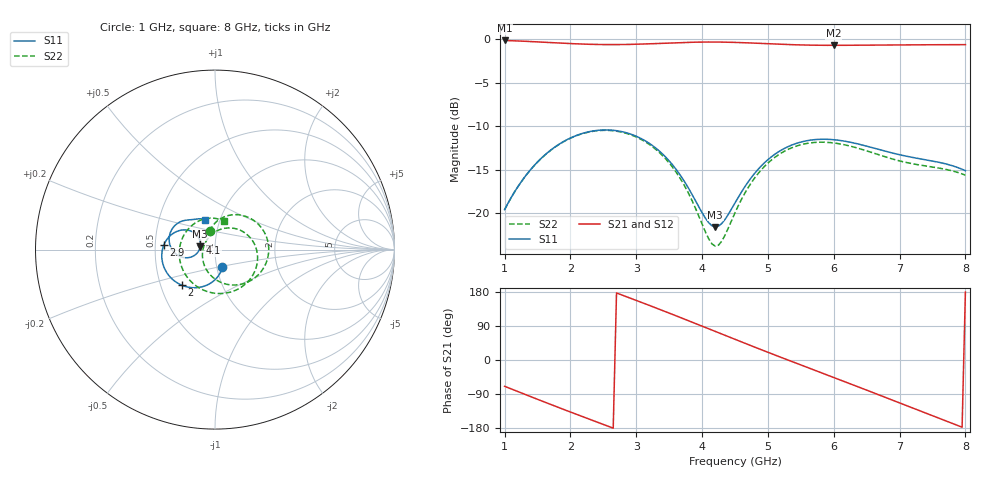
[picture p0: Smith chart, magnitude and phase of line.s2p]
# GHz S RI R 50
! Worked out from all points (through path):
!   141 points, 1 GHz to 8 GHz, reference 50 ohm
!   highest |S21| = -0.18 dB at 1 GHz (marker M1); lowest = -0.7 dB at 6 GHz (marker M2)
!   group delay of S21, straight-line fit = 187 ps
!   lowest |S11| = -21.5 dB at 4.2 GHz (marker M3), VSWR 1.18, Z = 42.4 + j1.41 ohm
!   |S11| at or under -10 dB: start of sweep to end of sweep
!   |S22| runs from -23.7 to -10.5 dB; largest |S21 - S12| = 0
!   S11 on the Smith chart (normalised r, x): 1 GHz: 1.06, -0.21; 2 GHz: 0.64, -0.28; 2.9 GHz: 0.56, +0.03; 4.1 GHz: 0.85, +0.06; 8 GHz: 0.85, +0.29
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1  0.041 -0.0969  0.3442 -0.9176  0.3442 -0.9176  -0.0285 0.1012
1.45  -0.0243 -0.1868  -0.1733 -0.9482  -0.1733 -0.9482  0.049 0.1816
2  -0.1836 -0.199  -0.6912 -0.6379  -0.6912 -0.6379  0.2153 0.1629
2.2  -0.2365 -0.1659  -0.8127 -0.4603  -0.8127 -0.4603  0.2643 0.1141
2.55  -0.2916 -0.0748  -0.9217 -0.1079  -0.9217 -0.1079  0.2994 -0.00531
2.9  -0.2851 0.0257  -0.8934 0.2592  -0.8934 0.2592  0.2544 -0.1257
3.35  -0.2024 0.1049  -0.6543 0.6786  -0.6543 0.6786  0.1048 -0.1975
3.75  -0.1156 0.0935  -0.2741 0.9149  -0.2741 0.9149  -0.0297 -0.1372
4.1  -0.0812 0.0354  0.1274 0.9516  0.1274 0.9516  -0.0696 -0.0169
4.2  -0.0821 0.0165  0.242 0.9289  0.242 0.9289  -0.0622 0.0187
4.5  -0.111 -0.0298  0.5542 0.7779  0.5542 0.7779  0.00437 0.1008
4.8  -0.1639 -0.0455  0.785 0.5274  0.785 0.5274  0.1078 0.1182
5.1  -0.2162 -0.0255  0.9089 0.2196  0.9089 0.2196  0.1993 0.063
5.4  -0.2489 0.0197  0.9202 -0.1039  0.9202 -0.1039  0.2373 -0.0415
5.7  -0.2544 0.0729  0.8253 -0.4078  0.8253 -0.4078  0.2035 -0.1538
6  -0.2366 0.1186  0.6368 -0.6627  0.6368 -0.6627  0.1063 -0.2301
6.45  -0.1895 0.1566  0.221 -0.8946  0.221 -0.8946  -0.0838 -0.2159
6.85  -0.1514 0.1651  -0.2087 -0.9006  -0.2087 -0.9006  -0.1908 -0.0813
7.15  -0.1296 0.1667  -0.5086 -0.7734  -0.5086 -0.7734  -0.1892 0.0438
7.45  -0.1085 0.1697  -0.7454 -0.5494  -0.7454 -0.5494  -0.1232 0.1392
7.75  -0.0819 0.1717  -0.89 -0.2575  -0.89 -0.2575  -0.026 0.1754
8  -0.0539 0.1674  -0.9275 0.012  -0.9275 0.012  0.0481 0.1587
